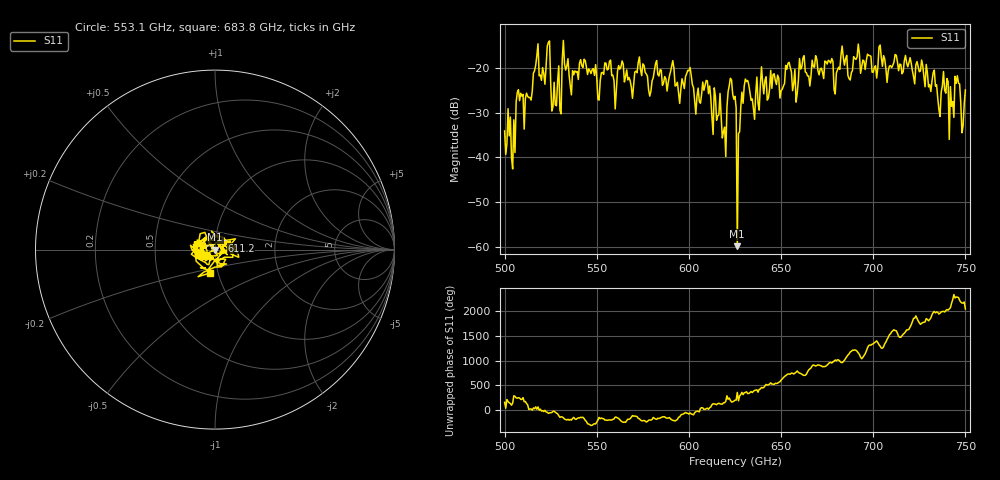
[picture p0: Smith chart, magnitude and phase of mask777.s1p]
!Created with skrf (http://scikit-rf.org).
# GHz S MA R 50.0
!freq magS11 angS11
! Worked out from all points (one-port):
!   401 points, 500 GHz to 750 GHz, reference 50 ohm
!   lowest |S11| = -59.9 dB at 626.2 GHz (marker M1), VSWR 1.00, Z = 50.1 + j0.00088 ohm
!   |S11| at or under -10 dB: start of sweep to end of sweep
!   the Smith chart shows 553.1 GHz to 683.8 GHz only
!   S11 on the Smith chart (normalised r, x): 553.1 GHz: 0.84, -0.04; 611.2 GHz: 1.07, +0.11; 683.8 GHz: 0.91, -0.24
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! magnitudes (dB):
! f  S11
! 500 GHz  -34.1
! 504.4 GHz  -42.6
! 507.5 GHz  -24.8
! 513.8 GHz  -26.5
! 516.9 GHz  -19.3
! 523.8 GHz  -14.2
! 526.9 GHz  -23.1
! 531.2 GHz  -18.2
! 553.1 GHz  -20.9
! 562.5 GHz  -20.2
! 593.8 GHz  -23.1
! 600 GHz  -20.6
! 611.2 GHz  -23.9
! 618.8 GHz  -34.2
! 623.1 GHz  -22.6
! 625 GHz  -26.3
! 626.2 GHz  -59.9
! 631.2 GHz  -23.0
! 635 GHz  -29.0
! 656.2 GHz  -25.0
! 683.8 GHz  -17.5
! 687.5 GHz  -22.6
! 718.8 GHz  -19.6
! 735.6 GHz  -29.2
! 739.4 GHz  -25.6
! 742.5 GHz  -28.5
! 745.6 GHz  -21.7
! 750 GHz  -24.9
